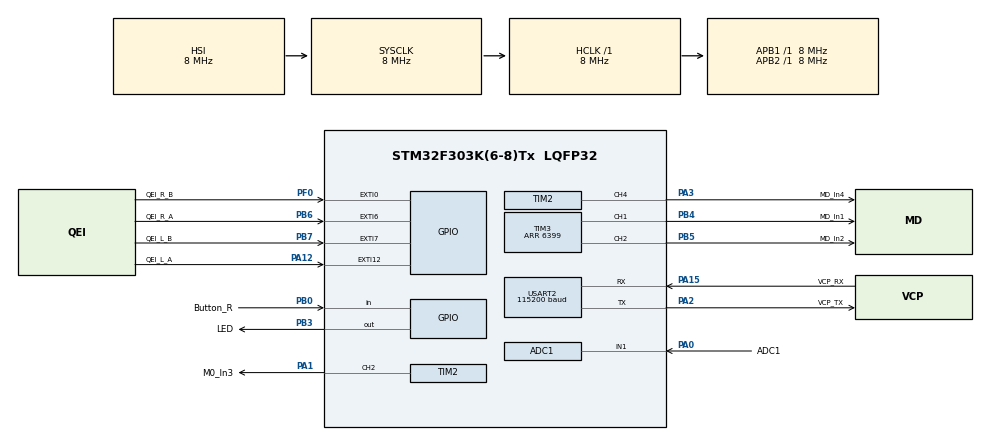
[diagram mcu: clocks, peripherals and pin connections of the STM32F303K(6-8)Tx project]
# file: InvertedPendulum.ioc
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ADC1.Channel-0\#ChannelRegularConversion=ADC_CHANNEL_1
ADC1.NbrOfConversionFlag=1
ADC1.Offset-0\#ChannelRegularConversion=0
ADC1.OffsetNumber-0\#ChannelRegularConversion=ADC_OFFSET_NONE
ADC1.Rank-0\#ChannelRegularConversion=1
ADC1.Resolution=ADC_RESOLUTION_10B
ADC1.SamplingTime-0\#ChannelRegularConversion=ADC_SAMPLETIME_1CYCLE_5
ADC1.SamplingTimeOPAMP-0\#ChannelRegularConversion=ADC_SAMPLETIME_4CYCLES_5
ADC1.SubFamily=STM32F303x8
ADC1.master=1
Mcu.Family=STM32F3
Mcu.Name=STM32F303K(6-8)Tx
Mcu.Package=LQFP32
NVIC.EXTI0_IRQn=true\:0\:0\:false\:false\:true\:true\:true\:true
NVIC.EXTI15_10_IRQn=true\:0\:0\:false\:false\:true\:true\:true\:true
NVIC.EXTI9_5_IRQn=true\:0\:0\:false\:false\:true\:true\:true\:true
NVIC.PriorityGroup=NVIC_PRIORITYGROUP_4
NVIC.TIM6_DAC1_IRQn=true\:0\:0\:false\:false\:true\:true\:true\:true
PA0.GPIO_Label=ADC1
PA0.Mode=IN1-Single-Ended
PA0.Signal=ADC1_IN1
PA1.GPIO_Label=M0_In3
PA1.Signal=S_TIM2_CH2
PA12.GPIO_Label=QEI_L_A
PA12.GPIO_ModeDefaultEXTI=GPIO_MODE_IT_RISING_FALLING
PA12.GPIO_PuPd=GPIO_PULLUP
PA12.Signal=GPXTI12
PA13.Mode=Serial_Wire
PA13.Signal=SYS_JTMS-SWDIO
PA14.Mode=Serial_Wire
PA14.Signal=SYS_JTCK-SWCLK
PA15.GPIO_Label=VCP_RX
PA15.Mode=Asynchronous
PA15.Signal=USART2_RX
PA2.GPIO_Label=VCP_TX
PA2.Mode=Asynchronous
PA2.Signal=USART2_TX
PA3.GPIO_Label=MD_In4
PA3.Signal=S_TIM2_CH4
PB0.GPIO_Label=Button_R
PB0.GPIO_PuPd=GPIO_PULLUP
PB0.Signal=GPIO_Input
PB3.GPIO_Label=LED
PB3.Signal=GPIO_Output
PB4.GPIO_Label=MD_In1
PB4.Signal=S_TIM3_CH1
PB5.GPIO_Label=MD_In2
PB5.Signal=S_TIM3_CH2
PB6.GPIO_Label=QEI_R_A
PB6.GPIO_PuPd=GPIO_PULLUP
PB6.Signal=GPXTI6
PB7.GPIO_Label=QEI_L_B
PB7.GPIO_ModeDefaultEXTI=GPIO_MODE_IT_RISING_FALLING
PB7.GPIO_PuPd=GPIO_PULLUP
PB7.Signal=GPXTI7
PF0\ /\ OSC_IN.GPIO_Label=QEI_R_B
PF0\ /\ OSC_IN.GPIO_ModeDefaultEXTI=GPIO_MODE_IT_RISING_FALLING
PF0\ /\ OSC_IN.GPIO_PuPd=GPIO_PULLUP
PF0\ /\ OSC_IN.Signal=GPXTI0
ProjectManager.HeapSize=0x200
ProjectManager.StackSize=0x400
ProjectManager.TargetToolchain=STM32CubeIDE
RCC.AHBFreq_Value=8000000
RCC.APB1Freq_Value=8000000
RCC.APB2Freq_Value=8000000
RCC.CortexFreq_Value=8000000
RCC.HSE_VALUE=8000000
RCC.HSI_VALUE=8000000
RCC.PLLMUL=RCC_PLL_MUL4
RCC.SYSCLKFreq_VALUE=8000000
SH.S_TIM2_CH2.0=TIM2_CH2,PWM Generation2 CH2
SH.S_TIM2_CH4.0=TIM2_CH4,PWM Generation4 CH4
SH.S_TIM3_CH1.0=TIM3_CH1,PWM Generation1 CH1
SH.S_TIM3_CH2.0=TIM3_CH2,PWM Generation2 CH2
TIM2.Channel-PWM\ Generation2\ CH2=TIM_CHANNEL_2
TIM2.Channel-PWM\ Generation4\ CH4=TIM_CHANNEL_4
TIM2.Period=6399
TIM3.Channel-PWM\ Generation1\ CH1=TIM_CHANNEL_1
TIM3.Channel-PWM\ Generation2\ CH2=TIM_CHANNEL_2
TIM3.Period=6399
TIM6.Period=63999
USART2.BaudRate=115200
USART2.VirtualMode-Asynchronous=VM_ASYNC
VP_TIM2_VS_ClockSourceINT.Mode=Internal
VP_TIM3_VS_ClockSourceINT.Mode=Internal
VP_TIM6_VS_ClockSourceINT.Mode=Enable_Timer
board=custom

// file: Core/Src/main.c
/* USER CODE BEGIN Header */
/**
  ******************************************************************************
  * @file           : main.c
  * @brief          : Main program body
  ******************************************************************************
  * @attention
  *
  * Copyright (c) 2025 STMicroelectronics.
  * All rights reserved.
  *
  * This software is licensed under terms that can be found in the LICENSE file
  * in the root directory of this software component.
  * If no LICENSE file comes with this software, it is provided AS-IS.
  *
  ******************************************************************************
  */
/* USER CODE END Header */
#include "main.h"

/* USER CODE BEGIN Includes */
#include <stdio.h>
#include <stdbool.h>

#include "qei.h"
/* USER CODE END Includes */

/* USER CODE BEGIN PM */
#define PI 3.141592

#define PRESCALER (6399 - 1)

#define THETA_REF 0
#define ADV_TO_RAD 0.0056
#define MAX_V 7.2
#define PULSE_TO_METER 0.0005
#define DT (0.001)
/* USER CODE END PM */

ADC_HandleTypeDef hadc1;

TIM_HandleTypeDef htim2;
TIM_HandleTypeDef htim3;
TIM_HandleTypeDef htim6;

UART_HandleTypeDef huart2;

/* USER CODE BEGIN PV */
bool start = false;

uint16_t ad;
uint16_t zero_ad;
float theta = 0, theta_pre = 0, dtheta = 0;
float x = 0, x_pre = 0, dx = 0;
float e = 0, ed = 0, ei = 0, e_pre = 0;                                 //振子の角度
float v_ref = 0, duty_ratio = 0;                       //電圧指令値　，　デューティー比

QEI_HandleTypeDef hqei_left;
QEI_HandleTypeDef hqei_right;

int enc_left = 0, enc_right = 0;
/* USER CODE END PV */

void SystemClock_Config(void);
static void MX_GPIO_Init(void);
static void MX_ADC1_Init(void);
static void MX_TIM2_Init(void);
static void MX_TIM3_Init(void);
static void MX_TIM6_Init(void);
static void MX_USART2_UART_Init(void);

/* USER CODE BEGIN 0 */
int _write(int file, char *ptr, int len) {
	HAL_UART_Transmit(&huart2, (uint8_t*) ptr, len, 10);
	return len;
}

void MoveRightMotor(const float v) {
	float s = v;
	s = s > 1.0 ? 1.0 : s;
	s = s < -1.0 ? -1.0 : s;

	if (s > 0) {
		__HAL_TIM_SET_COMPARE(&htim3, TIM_CHANNEL_1, 0); // 右側 反転
		__HAL_TIM_SET_COMPARE(&htim3, TIM_CHANNEL_2, s * PRESCALER); // 右側 正転
	} else if (s < 0) {
		__HAL_TIM_SET_COMPARE(&htim3, TIM_CHANNEL_1, - s * PRESCALER); // 右側 反転
		__HAL_TIM_SET_COMPARE(&htim3, TIM_CHANNEL_2, 0); // 右側 正転
	} else {
		__HAL_TIM_SET_COMPARE(&htim3, TIM_CHANNEL_1, 0); // 右側 反転
		__HAL_TIM_SET_COMPARE(&htim3, TIM_CHANNEL_2, 0); // 右側 正転
	}
}

void MoveLeftMotor(const float v) {
	float s = v;
	s = s > 1.0 ? 1.0 : s;
	s = s < -1.0 ? -1.0 : s;

	if (s > 0) {
		__HAL_TIM_SET_COMPARE(&htim2, TIM_CHANNEL_2, s * PRESCALER); // 左側 正転
		__HAL_TIM_SET_COMPARE(&htim2, TIM_CHANNEL_4, 0); // 左側 反転
	} else if (s < 0) {
		__HAL_TIM_SET_COMPARE(&htim2, TIM_CHANNEL_2, 0); // 左側 正転
		__HAL_TIM_SET_COMPARE(&htim2, TIM_CHANNEL_4, - s * PRESCALER); // 左側 反転
	} else {
		__HAL_TIM_SET_COMPARE(&htim2, TIM_CHANNEL_2, 0); // 左側 正転
		__HAL_TIM_SET_COMPARE(&htim2, TIM_CHANNEL_4, 0); // 左側 反転
	}
}

void HAL_GPIO_EXTI_Callback(uint16_t GPIO_Pin) {
	if (GPIO_Pin == QEI_L_A_Pin || GPIO_Pin == QEI_L_B_Pin) {
		QEI_Encode(&hqei_left);
	}
	if (GPIO_Pin == QEI_R_A_Pin || GPIO_Pin == QEI_R_B_Pin) {
		QEI_Encode(&hqei_right);
	}

}

void HAL_TIM_PeriodElapsedCallback(TIM_HandleTypeDef *htim) {
	if (htim == &htim6) {
		if (start) {

			HAL_ADC_Start(&hadc1);
			if (HAL_ADC_PollForConversion(&hadc1, 10) == HAL_OK) {
				ad = HAL_ADC_GetValue(&hadc1); // 10bit
			}
			HAL_ADC_Stop(&hadc1);

//			printf("%d\n", ad);

			enc_left += -QEI_GetPulses(&hqei_left);
			QEI_Reset(&hqei_left);
			enc_right += QEI_GetPulses(&hqei_right);
			QEI_Reset(&hqei_right);

//			e = THETA_REF - theta;
//			ed = (e - e_pre) / DT;
//			ei = (e + e_pre) * DT / 2;
//			e_pre = e;
//			v_ref = e * KP + ed * ed + ei * KI;

			theta = -(THETA_REF - (float)(ad - zero_ad) * ADV_TO_RAD); // nopp_dev version
			dtheta = (theta - theta_pre) / DT;
			theta_pre = theta;

			x = -((float)(enc_left + enc_right) / 2) * PULSE_TO_METER;
			dx = (x - x_pre) / DT;
			x_pre = x;
//			printf("Pos: %f, Theta: %f\n", x, theta);

			v_ref = -10.0000*x - 2.3419*dx - 528.4942*theta - 66.8335*dtheta;

			duty_ratio = v_ref / MAX_V;

			MoveRightMotor(duty_ratio);
			MoveLeftMotor(duty_ratio);
		}
	}
}
/* USER CODE END 0 */

int main(void)
{

  /* USER CODE BEGIN 1 */
  setbuf(stdout, NULL);
  /* USER CODE END 1 */

  /* MCU Configuration--------------------------------------------------------*/

  /* Reset of all peripherals, Initializes the Flash interface and the Systick. */
  HAL_Init();

  /* Configure the system clock */
  SystemClock_Config();

  /* Initialize all configured peripherals */
  MX_GPIO_Init();
  MX_ADC1_Init();
  MX_TIM2_Init();
  MX_TIM3_Init();
  MX_TIM6_Init();
  MX_USART2_UART_Init();
  /* USER CODE BEGIN 2 */
  __HAL_TIM_SET_COMPARE(&htim3, TIM_CHANNEL_1, 0); // 右側 反転
  __HAL_TIM_SET_COMPARE(&htim3, TIM_CHANNEL_2, 0); // 右側 正転
  __HAL_TIM_SET_COMPARE(&htim2, TIM_CHANNEL_2, 0); // 左側 正転
  __HAL_TIM_SET_COMPARE(&htim2, TIM_CHANNEL_4, 0); // 左側 反転
  HAL_TIM_PWM_Start(&htim3, TIM_CHANNEL_1);
  HAL_TIM_PWM_Start(&htim3, TIM_CHANNEL_2);
  HAL_TIM_PWM_Start(&htim2, TIM_CHANNEL_2);
  HAL_TIM_PWM_Start(&htim2, TIM_CHANNEL_4);

  HAL_TIM_Base_Start_IT(&htim6);

  QEI_Init(&hqei_left,
  QEI_L_A_GPIO_Port, QEI_L_A_Pin,
  QEI_L_B_GPIO_Port, QEI_L_B_Pin, 48, QEI_X4_ENCODING);
  QEI_Init(&hqei_right,
  QEI_R_A_GPIO_Port, QEI_R_A_Pin,
  QEI_R_B_GPIO_Port, QEI_R_B_Pin, 48, QEI_X4_ENCODING);
  /* USER CODE END 2 */

  /* Infinite loop */
  /* USER CODE BEGIN WHILE */
  while (1)
  {
    HAL_GPIO_TogglePin(LED_GPIO_Port, LED_Pin);
    HAL_Delay(100);

    if (!start && HAL_GPIO_ReadPin(Button_R_GPIO_Port, Button_R_Pin)
        == GPIO_PIN_RESET) {
      for (int i = 0; i < 10; i++) {
        HAL_ADC_Start(&hadc1);
        if (HAL_ADC_PollForConversion(&hadc1, 10) == HAL_OK) {
          zero_ad = HAL_ADC_GetValue(&hadc1); // 10bit
        }
        HAL_ADC_Stop(&hadc1);
      }
      start = true;
        }
    /* USER CODE END WHILE */

  }
}

void SystemClock_Config(void)
{
  RCC_OscInitTypeDef RCC_OscInitStruct = {0};
  RCC_ClkInitTypeDef RCC_ClkInitStruct = {0};
  RCC_PeriphCLKInitTypeDef PeriphClkInit = {0};

  /** Initializes the RCC Oscillators according to the specified parameters
  * in the RCC_OscInitTypeDef structure.
  */
  RCC_OscInitStruct.OscillatorType = RCC_OSCILLATORTYPE_HSI;
  RCC_OscInitStruct.HSIState = RCC_HSI_ON;
  RCC_OscInitStruct.HSICalibrationValue = RCC_HSICALIBRATION_DEFAULT;
  RCC_OscInitStruct.PLL.PLLState = RCC_PLL_ON;
  RCC_OscInitStruct.PLL.PLLSource = RCC_PLLSOURCE_HSI;
  RCC_OscInitStruct.PLL.PLLMUL = RCC_PLL_MUL4;
  if (HAL_RCC_OscConfig(&RCC_OscInitStruct) != HAL_OK)
  {
    Error_Handler();
  }

  /** Initializes the CPU, AHB and APB buses clocks
  */
  RCC_ClkInitStruct.ClockType = RCC_CLOCKTYPE_HCLK|RCC_CLOCKTYPE_SYSCLK
                              |RCC_CLOCKTYPE_PCLK1|RCC_CLOCKTYPE_PCLK2;
  RCC_ClkInitStruct.SYSCLKSource = RCC_SYSCLKSOURCE_HSI;
  RCC_ClkInitStruct.AHBCLKDivider = RCC_SYSCLK_DIV1;
  RCC_ClkInitStruct.APB1CLKDivider = RCC_HCLK_DIV1;
  RCC_ClkInitStruct.APB2CLKDivider = RCC_HCLK_DIV1;

  if (HAL_RCC_ClockConfig(&RCC_ClkInitStruct, FLASH_LATENCY_0) != HAL_OK)
  {
    Error_Handler();
  }
  PeriphClkInit.PeriphClockSelection = RCC_PERIPHCLK_ADC12;
  PeriphClkInit.Adc12ClockSelection = RCC_ADC12PLLCLK_DIV1;
  if (HAL_RCCEx_PeriphCLKConfig(&PeriphClkInit) != HAL_OK)
  {
    Error_Handler();
  }
}

static void MX_ADC1_Init(void)
{

  ADC_MultiModeTypeDef multimode = {0};
  ADC_ChannelConfTypeDef sConfig = {0};

  /** Common config
  */
  hadc1.Instance = ADC1;
  hadc1.Init.ClockPrescaler = ADC_CLOCK_ASYNC_DIV1;
  hadc1.Init.Resolution = ADC_RESOLUTION_10B;
  hadc1.Init.ScanConvMode = ADC_SCAN_DISABLE;
  hadc1.Init.ContinuousConvMode = DISABLE;
  hadc1.Init.DiscontinuousConvMode = DISABLE;
  hadc1.Init.ExternalTrigConvEdge = ADC_EXTERNALTRIGCONVEDGE_NONE;
  hadc1.Init.ExternalTrigConv = ADC_SOFTWARE_START;
  hadc1.Init.DataAlign = ADC_DATAALIGN_RIGHT;
  hadc1.Init.NbrOfConversion = 1;
  hadc1.Init.DMAContinuousRequests = DISABLE;
  hadc1.Init.EOCSelection = ADC_EOC_SINGLE_CONV;
  hadc1.Init.LowPowerAutoWait = DISABLE;
  hadc1.Init.Overrun = ADC_OVR_DATA_OVERWRITTEN;
  if (HAL_ADC_Init(&hadc1) != HAL_OK)
  {
    Error_Handler();
  }

  /** Configure the ADC multi-mode
  */
  multimode.Mode = ADC_MODE_INDEPENDENT;
  if (HAL_ADCEx_MultiModeConfigChannel(&hadc1, &multimode) != HAL_OK)
  {
    Error_Handler();
  }

  /** Configure Regular Channel
  */
  sConfig.Channel = ADC_CHANNEL_1;
  sConfig.Rank = ADC_REGULAR_RANK_1;
  sConfig.SingleDiff = ADC_SINGLE_ENDED;
  sConfig.SamplingTime = ADC_SAMPLETIME_1CYCLE_5;
  sConfig.OffsetNumber = ADC_OFFSET_NONE;
  sConfig.Offset = 0;
  if (HAL_ADC_ConfigChannel(&hadc1, &sConfig) != HAL_OK)
  {
    Error_Handler();
  }

}

static void MX_TIM2_Init(void)
{

  TIM_ClockConfigTypeDef sClockSourceConfig = {0};
  TIM_MasterConfigTypeDef sMasterConfig = {0};
  TIM_OC_InitTypeDef sConfigOC = {0};

  htim2.Instance = TIM2;
  htim2.Init.Prescaler = 0;
  htim2.Init.CounterMode = TIM_COUNTERMODE_UP;
  htim2.Init.Period = 6399;
  htim2.Init.ClockDivision = TIM_CLOCKDIVISION_DIV1;
  htim2.Init.AutoReloadPreload = TIM_AUTORELOAD_PRELOAD_DISABLE;
  if (HAL_TIM_Base_Init(&htim2) != HAL_OK)
  {
    Error_Handler();
  }
  sClockSourceConfig.ClockSource = TIM_CLOCKSOURCE_INTERNAL;
  if (HAL_TIM_ConfigClockSource(&htim2, &sClockSourceConfig) != HAL_OK)
  {
    Error_Handler();
  }
  if (HAL_TIM_PWM_Init(&htim2) != HAL_OK)
  {
    Error_Handler();
  }
  sMasterConfig.MasterOutputTrigger = TIM_TRGO_RESET;
  sMasterConfig.MasterSlaveMode = TIM_MASTERSLAVEMODE_DISABLE;
  if (HAL_TIMEx_MasterConfigSynchronization(&htim2, &sMasterConfig) != HAL_OK)
  {
    Error_Handler();
  }
  sConfigOC.OCMode = TIM_OCMODE_PWM1;
  sConfigOC.Pulse = 0;
  sConfigOC.OCPolarity = TIM_OCPOLARITY_HIGH;
  sConfigOC.OCFastMode = TIM_OCFAST_DISABLE;
  if (HAL_TIM_PWM_ConfigChannel(&htim2, &sConfigOC, TIM_CHANNEL_2) != HAL_OK)
  {
    Error_Handler();
  }
  if (HAL_TIM_PWM_ConfigChannel(&htim2, &sConfigOC, TIM_CHANNEL_4) != HAL_OK)
  {
    Error_Handler();
  }
  HAL_TIM_MspPostInit(&htim2);

}

static void MX_TIM3_Init(void)
{

  TIM_ClockConfigTypeDef sClockSourceConfig = {0};
  TIM_MasterConfigTypeDef sMasterConfig = {0};
  TIM_OC_InitTypeDef sConfigOC = {0};

  htim3.Instance = TIM3;
  htim3.Init.Prescaler = 0;
  htim3.Init.CounterMode = TIM_COUNTERMODE_UP;
  htim3.Init.Period = 6399;
  htim3.Init.ClockDivision = TIM_CLOCKDIVISION_DIV1;
  htim3.Init.AutoReloadPreload = TIM_AUTORELOAD_PRELOAD_DISABLE;
  if (HAL_TIM_Base_Init(&htim3) != HAL_OK)
  {
    Error_Handler();
  }
  sClockSourceConfig.ClockSource = TIM_CLOCKSOURCE_INTERNAL;
  if (HAL_TIM_ConfigClockSource(&htim3, &sClockSourceConfig) != HAL_OK)
  {
    Error_Handler();
  }
  if (HAL_TIM_PWM_Init(&htim3) != HAL_OK)
  {
    Error_Handler();
  }
  sMasterConfig.MasterOutputTrigger = TIM_TRGO_RESET;
  sMasterConfig.MasterSlaveMode = TIM_MASTERSLAVEMODE_DISABLE;
  if (HAL_TIMEx_MasterConfigSynchronization(&htim3, &sMasterConfig) != HAL_OK)
  {
    Error_Handler();
  }
  sConfigOC.OCMode = TIM_OCMODE_PWM1;
  sConfigOC.Pulse = 0;
  sConfigOC.OCPolarity = TIM_OCPOLARITY_HIGH;
  sConfigOC.OCFastMode = TIM_OCFAST_DISABLE;
  if (HAL_TIM_PWM_ConfigChannel(&htim3, &sConfigOC, TIM_CHANNEL_1) != HAL_OK)
  {
    Error_Handler();
  }
  if (HAL_TIM_PWM_ConfigChannel(&htim3, &sConfigOC, TIM_CHANNEL_2) != HAL_OK)
  {
    Error_Handler();
  }
  HAL_TIM_MspPostInit(&htim3);

}

static void MX_TIM6_Init(void)
{

  TIM_MasterConfigTypeDef sMasterConfig = {0};

  htim6.Instance = TIM6;
  htim6.Init.Prescaler = 0;
  htim6.Init.CounterMode = TIM_COUNTERMODE_UP;
  htim6.Init.Period = 63999;
  htim6.Init.AutoReloadPreload = TIM_AUTORELOAD_PRELOAD_DISABLE;
  if (HAL_TIM_Base_Init(&htim6) != HAL_OK)
  {
    Error_Handler();
  }
  sMasterConfig.MasterOutputTrigger = TIM_TRGO_RESET;
  sMasterConfig.MasterSlaveMode = TIM_MASTERSLAVEMODE_DISABLE;
  if (HAL_TIMEx_MasterConfigSynchronization(&htim6, &sMasterConfig) != HAL_OK)
  {
    Error_Handler();
  }

}

static void MX_USART2_UART_Init(void)
{

  huart2.Instance = USART2;
  huart2.Init.BaudRate = 115200;
  huart2.Init.WordLength = UART_WORDLENGTH_8B;
  huart2.Init.StopBits = UART_STOPBITS_1;
  huart2.Init.Parity = UART_PARITY_NONE;
  huart2.Init.Mode = UART_MODE_TX_RX;
  huart2.Init.HwFlowCtl = UART_HWCONTROL_NONE;
  huart2.Init.OverSampling = UART_OVERSAMPLING_16;
  huart2.Init.OneBitSampling = UART_ONE_BIT_SAMPLE_DISABLE;
  huart2.AdvancedInit.AdvFeatureInit = UART_ADVFEATURE_NO_INIT;
  if (HAL_UART_Init(&huart2) != HAL_OK)
  {
    Error_Handler();
  }

}

static void MX_GPIO_Init(void)
{
  GPIO_InitTypeDef GPIO_InitStruct = {0};

  /* GPIO Ports Clock Enable */
  __HAL_RCC_GPIOF_CLK_ENABLE();
  __HAL_RCC_GPIOA_CLK_ENABLE();
  __HAL_RCC_GPIOB_CLK_ENABLE();

  /*Configure GPIO pin Output Level */
  HAL_GPIO_WritePin(LED_GPIO_Port, LED_Pin, GPIO_PIN_RESET);

  /*Configure GPIO pin : QEI_R_B_Pin */
  GPIO_InitStruct.Pin = QEI_R_B_Pin;
  GPIO_InitStruct.Mode = GPIO_MODE_IT_RISING_FALLING;
  GPIO_InitStruct.Pull = GPIO_PULLUP;
  HAL_GPIO_Init(QEI_R_B_GPIO_Port, &GPIO_InitStruct);

  /*Configure GPIO pin : Button_R_Pin */
  GPIO_InitStruct.Pin = Button_R_Pin;
  GPIO_InitStruct.Mode = GPIO_MODE_INPUT;
  GPIO_InitStruct.Pull = GPIO_PULLUP;
  HAL_GPIO_Init(Button_R_GPIO_Port, &GPIO_InitStruct);

  /*Configure GPIO pin : QEI_L_A_Pin */
  GPIO_InitStruct.Pin = QEI_L_A_Pin;
  GPIO_InitStruct.Mode = GPIO_MODE_IT_RISING_FALLING;
  GPIO_InitStruct.Pull = GPIO_PULLUP;
  HAL_GPIO_Init(QEI_L_A_GPIO_Port, &GPIO_InitStruct);

  /*Configure GPIO pin : LED_Pin */
  GPIO_InitStruct.Pin = LED_Pin;
  GPIO_InitStruct.Mode = GPIO_MODE_OUTPUT_PP;
  GPIO_InitStruct.Pull = GPIO_NOPULL;
  GPIO_InitStruct.Speed = GPIO_SPEED_FREQ_LOW;
  HAL_GPIO_Init(LED_GPIO_Port, &GPIO_InitStruct);

  /*Configure GPIO pin : QEI_R_A_Pin */
  GPIO_InitStruct.Pin = QEI_R_A_Pin;
  GPIO_InitStruct.Mode = GPIO_MODE_IT_RISING;
  GPIO_InitStruct.Pull = GPIO_PULLUP;
  HAL_GPIO_Init(QEI_R_A_GPIO_Port, &GPIO_InitStruct);

  /*Configure GPIO pin : QEI_L_B_Pin */
  GPIO_InitStruct.Pin = QEI_L_B_Pin;
  GPIO_InitStruct.Mode = GPIO_MODE_IT_RISING_FALLING;
  GPIO_InitStruct.Pull = GPIO_PULLUP;
  HAL_GPIO_Init(QEI_L_B_GPIO_Port, &GPIO_InitStruct);

  /* EXTI interrupt init*/
  HAL_NVIC_SetPriority(EXTI0_IRQn, 0, 0);
  HAL_NVIC_EnableIRQ(EXTI0_IRQn);

  HAL_NVIC_SetPriority(EXTI9_5_IRQn, 0, 0);
  HAL_NVIC_EnableIRQ(EXTI9_5_IRQn);

  HAL_NVIC_SetPriority(EXTI15_10_IRQn, 0, 0);
  HAL_NVIC_EnableIRQ(EXTI15_10_IRQn);

}

void Error_Handler(void)
{
  __disable_irq();
  while (1)
  {
  }
}
